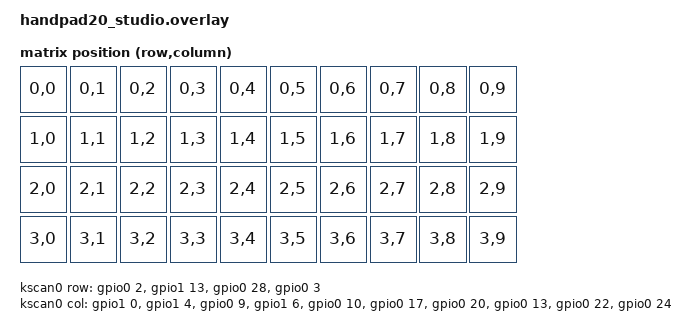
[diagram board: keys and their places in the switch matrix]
#include <dt-bindings/zmk/matrix_transform.h>
#include "handpad20_layouts.dtsi"

/ {
    chosen {
        zmk,kscan = &kscan0;
        zmk,physical-layout = &handpad20_layout;
    };

    kscan0: kscan {
        compatible = "zmk,kscan-gpio-matrix";
        label = "KSCAN";
        diode-direction = "col2row";

        /*
         * Left PCB local keys: COL12..COL16.
         * Right passive PCB:
         *   controller COL7  -> passive COL12
         *   controller COL8  -> passive COL13
         *   controller COL9  -> passive COL14
         *   controller COL10 -> passive COL15
         *   controller COL11 -> passive COL16
         */
        col-gpios = <&gpio1 0 GPIO_ACTIVE_HIGH>,   /* left COL12 */
                    <&gpio1 4 GPIO_ACTIVE_HIGH>,   /* left COL13 */
                    <&gpio0 9 GPIO_ACTIVE_HIGH>,   /* left COL14 */
                    <&gpio1 6 GPIO_ACTIVE_HIGH>,   /* left COL15 */
                    <&gpio0 10 GPIO_ACTIVE_HIGH>,  /* left COL16 */
                    <&gpio0 17 GPIO_ACTIVE_HIGH>,  /* right via COL7 */
                    <&gpio0 20 GPIO_ACTIVE_HIGH>,  /* right via COL8 */
                    <&gpio0 13 GPIO_ACTIVE_HIGH>,  /* right via COL9 */
                    <&gpio0 22 GPIO_ACTIVE_HIGH>,  /* right via COL10 */
                    <&gpio0 24 GPIO_ACTIVE_HIGH>;  /* right via COL11 */

        row-gpios = <&gpio0 2 (GPIO_ACTIVE_HIGH | GPIO_PULL_DOWN)>,
                    <&gpio1 13 (GPIO_ACTIVE_HIGH | GPIO_PULL_DOWN)>,
                    <&gpio0 28 (GPIO_ACTIVE_HIGH | GPIO_PULL_DOWN)>,
                    <&gpio0 3 (GPIO_ACTIVE_HIGH | GPIO_PULL_DOWN)>;
    };

    default_transform: keymap_transform0 {
        compatible = "zmk,matrix-transform";
        columns = <10>;
        rows = <4>;

        map = <
            RC(0,0) RC(0,1) RC(0,2) RC(0,3) RC(0,4) RC(0,5) RC(0,6) RC(0,7) RC(0,8) RC(0,9)
            RC(1,0) RC(1,1) RC(1,2) RC(1,3) RC(1,4) RC(1,5) RC(1,6) RC(1,7) RC(1,8) RC(1,9)
            RC(2,0) RC(2,1) RC(2,2) RC(2,3) RC(2,4) RC(2,5) RC(2,6) RC(2,7) RC(2,8) RC(2,9)
            RC(3,0) RC(3,1) RC(3,2) RC(3,3) RC(3,4) RC(3,5) RC(3,6) RC(3,7) RC(3,8) RC(3,9)
        >;
    };
};

&handpad20_layout {
    status = "okay";
    kscan = <&kscan0>;
    transform = <&default_transform>;
};
